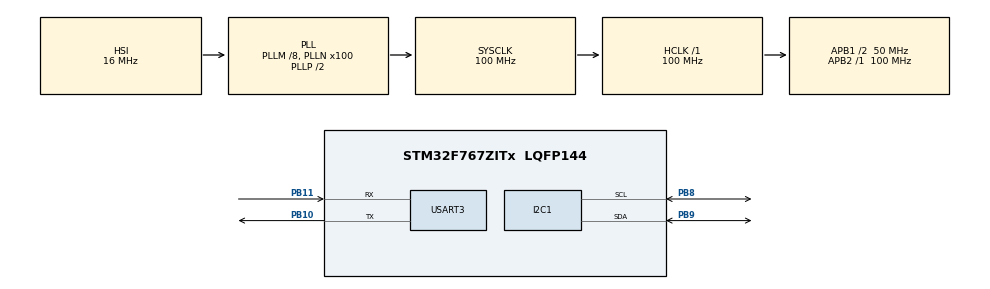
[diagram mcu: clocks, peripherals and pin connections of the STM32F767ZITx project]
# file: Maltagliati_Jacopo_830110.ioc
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FREERTOS.Tasks01=Task_T_Reserved,55,128,T_Reserved,Default,NULL,Dynamic,NULL,NULL;Task_M_CalcAll,32,128,M_CalcAll,Default,NULL,Dynamic,NULL,NULL;Task_LCD_Disply,48,128,LCD_Display,Default,NULL,Dynamic,NULL,NULL;Task_LCD_Button,49,128,LCD_Button_Readall,Default,NULL,Dynamic,NULL,NULL;Task_XL_GetData,25,128,XL_GetData,Default,NULL,Dynamic,NULL,NULL;Task_MG_GetData,26,128,MG_GetData,Default,NULL,Dynamic,NULL,NULL;Task_B_GetData,27,128,B_GetData,Default,NULL,Dynamic,NULL,NULL;Task_XL2_GetDat,28,128,XL2_GetData,Default,NULL,Dynamic,NULL,NULL;Task_G_GetData,29,128,G_GetData,Default,NULL,Dynamic,NULL,NULL
I2C1.Timing=0x00C0EAFF
Mcu.Family=STM32F7
Mcu.Name=STM32F767ZITx
Mcu.Package=LQFP144
NVIC.I2C1_ER_IRQn=true\:0\:0\:false\:false\:true\:true\:true\:true
NVIC.I2C1_EV_IRQn=true\:0\:0\:false\:false\:true\:true\:true\:true
NVIC.PriorityGroup=NVIC_PRIORITYGROUP_4
NVIC.TIM1_UP_TIM10_IRQn=true\:0\:0\:false\:false\:true\:false\:false\:true
NVIC.TimeBase=TIM1_UP_TIM10_IRQn
NVIC.TimeBaseIP=TIM1
PB10.Mode=Asynchronous
PB10.Signal=USART3_TX
PB11.Mode=Asynchronous
PB11.Signal=USART3_RX
PB8.Mode=I2C
PB8.Signal=I2C1_SCL
PB9.Mode=I2C
PB9.Signal=I2C1_SDA
ProjectManager.HeapSize=0x200
ProjectManager.StackSize=0x400
ProjectManager.TargetToolchain=STM32CubeIDE
RCC.AHBFreq_Value=100000000
RCC.APB1CLKDivider=RCC_HCLK_DIV2
RCC.APB1Freq_Value=50000000
RCC.APB1TimFreq_Value=100000000
RCC.APB2Freq_Value=100000000
RCC.APB2TimFreq_Value=100000000
RCC.CortexFreq_Value=100000000
RCC.HCLKFreq_Value=100000000
RCC.HSE_VALUE=25000000
RCC.HSI_VALUE=16000000
RCC.LSE_VALUE=32768
RCC.PLLM=8
RCC.PLLN=100
RCC.SYSCLKFreq_VALUE=100000000
RCC.SYSCLKSource=RCC_SYSCLKSOURCE_PLLCLK
RCC.USBFreq_Value=100000000
RCC.VCOOutputFreq_Value=200000000
USART3.VirtualMode-Asynchronous=VM_ASYNC
VP_FREERTOS_VS_CMSIS_V2.Mode=CMSIS_V2
VP_SYS_VS_tim1.Mode=TIM1
board=custom

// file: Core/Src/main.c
/* USER CODE BEGIN Header */
/**
 ******************************************************************************
 * @file           : main.c
 * @brief          : Main program body
 ******************************************************************************
 * @attention
 *
 * <h2><center>&copy; Copyright (c) 2020 STMicroelectronics.
 * All rights reserved.</center></h2>
 *
 * This software component is licensed by ST under BSD 3-Clause license,
 * the "License"; You may not use this file except in compliance with the
 * License. You may obtain a copy of the License at:
 *                        opensource.org/licenses/BSD-3-Clause
 *
 ******************************************************************************
 */
/* USER CODE END Header */
#include "main.h"
#include "cmsis_os.h"
#include "i2c.h"
#include "usart.h"
#include "gpio.h"

/* USER CODE BEGIN Includes */

#include "u_lcd_helper.h"
#include "u_lsm303agr_driver.h"
#include "u_lsm6dsl_driver.h"
#include "u_lps22hb_driver.h"

/* USER CODE END Includes */

/* USER CODE BEGIN PD */
#define NUCLEO_F767ZI

/* USER CODE END PD */

void SystemClock_Config(void);
void MX_FREERTOS_Init(void);

int main(void)
{

  /* MCU Configuration--------------------------------------------------------*/

  /* Reset of all peripherals, Initializes the Flash interface and the Systick. */
  HAL_Init();

  /* Configure the system clock */
  SystemClock_Config();

  /* Initialize all configured peripherals */
  MX_GPIO_Init();
  MX_I2C1_Init();
  MX_USART3_UART_Init();
  /* USER CODE BEGIN 2 */
	lcdInit(&hi2c1);

	H_LCD_Button_InitFSM();

	D_LSM303AGR_Init();
	D_LSM6DSL_Init();
	D_LPS22HB_Init();
  /* USER CODE END 2 */

  /* Init scheduler */
  osKernelInitialize();  /* Call init function for freertos objects (in freertos.c) */
  MX_FREERTOS_Init();
  /* Start scheduler */
  osKernelStart();

  /* We should never get here as control is now taken by the scheduler */
  /* Infinite loop */
	while (1) {

	}
}

void SystemClock_Config(void)
{
  RCC_OscInitTypeDef RCC_OscInitStruct = {0};
  RCC_ClkInitTypeDef RCC_ClkInitStruct = {0};
  RCC_PeriphCLKInitTypeDef PeriphClkInitStruct = {0};

  /** Configure the main internal regulator output voltage
  */
  __HAL_RCC_PWR_CLK_ENABLE();
  __HAL_PWR_VOLTAGESCALING_CONFIG(PWR_REGULATOR_VOLTAGE_SCALE3);
  /** Initializes the RCC Oscillators according to the specified parameters
  * in the RCC_OscInitTypeDef structure.
  */
  RCC_OscInitStruct.OscillatorType = RCC_OSCILLATORTYPE_HSI;
  RCC_OscInitStruct.HSIState = RCC_HSI_ON;
  RCC_OscInitStruct.HSICalibrationValue = RCC_HSICALIBRATION_DEFAULT;
  RCC_OscInitStruct.PLL.PLLState = RCC_PLL_ON;
  RCC_OscInitStruct.PLL.PLLSource = RCC_PLLSOURCE_HSI;
  RCC_OscInitStruct.PLL.PLLM = 8;
  RCC_OscInitStruct.PLL.PLLN = 100;
  RCC_OscInitStruct.PLL.PLLP = RCC_PLLP_DIV2;
  RCC_OscInitStruct.PLL.PLLQ = 2;
  if (HAL_RCC_OscConfig(&RCC_OscInitStruct) != HAL_OK)
  {
    Error_Handler();
  }
  /** Activate the Over-Drive mode
  */
  if (HAL_PWREx_EnableOverDrive() != HAL_OK)
  {
    Error_Handler();
  }
  /** Initializes the CPU, AHB and APB buses clocks
  */
  RCC_ClkInitStruct.ClockType = RCC_CLOCKTYPE_HCLK|RCC_CLOCKTYPE_SYSCLK
                              |RCC_CLOCKTYPE_PCLK1|RCC_CLOCKTYPE_PCLK2;
  RCC_ClkInitStruct.SYSCLKSource = RCC_SYSCLKSOURCE_PLLCLK;
  RCC_ClkInitStruct.AHBCLKDivider = RCC_SYSCLK_DIV1;
  RCC_ClkInitStruct.APB1CLKDivider = RCC_HCLK_DIV2;
  RCC_ClkInitStruct.APB2CLKDivider = RCC_HCLK_DIV1;

  if (HAL_RCC_ClockConfig(&RCC_ClkInitStruct, FLASH_LATENCY_3) != HAL_OK)
  {
    Error_Handler();
  }
  PeriphClkInitStruct.PeriphClockSelection = RCC_PERIPHCLK_USART3|RCC_PERIPHCLK_I2C1;
  PeriphClkInitStruct.Usart3ClockSelection = RCC_USART3CLKSOURCE_PCLK1;
  PeriphClkInitStruct.I2c1ClockSelection = RCC_I2C1CLKSOURCE_PCLK1;
  if (HAL_RCCEx_PeriphCLKConfig(&PeriphClkInitStruct) != HAL_OK)
  {
    Error_Handler();
  }
}

void HAL_TIM_PeriodElapsedCallback(TIM_HandleTypeDef *htim)
{
  if (htim->Instance == TIM1) {
    HAL_IncTick();
  }
}

void Error_Handler(void)
{
}

/************************ (C) COPYRIGHT STMicroelectronics *****END OF FILE****/

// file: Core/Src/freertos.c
/* USER CODE BEGIN Header */
/**
 ******************************************************************************
 * File Name          : freertos.c
 * Description        : Code for freertos applications
 ******************************************************************************
 * @attention
 *
 * <h2><center>&copy; Copyright (c) 2020 STMicroelectronics.
 * All rights reserved.</center></h2>
 *
 * This software component is licensed by ST under Ultimate Liberty license
 * SLA0044, the "License"; You may not use this file except in compliance with
 * the License. You may obtain a copy of the License at:
 *                             www.st.com/SLA0044
 *
 ******************************************************************************
 */
/* USER CODE END Header */

#include "FreeRTOS.h"
#include "task.h"
#include "main.h"
#include "cmsis_os.h"

/* USER CODE BEGIN Includes */

#include <string.h>
#include "u_root.h"
#include "u_types.h"
#include "u_timings.h"
#include "u_lcd_helper.h"
#include "u_lsm303agr_driver.h"
#include "u_lsm6dsl_driver.h"
#include "u_lps22hb_driver.h"

/* USER CODE END Includes */

/* Definitions for Task_T_Reserved */
osThreadId_t Task_T_ReservedHandle;
const osThreadAttr_t Task_T_Reserved_attributes = {
  .name = "Task_T_Reserved",
  .priority = (osPriority_t) osPriorityRealtime7,
  .stack_size = 128 * 4
};
/* Definitions for Task_M_CalcAll */
osThreadId_t Task_M_CalcAllHandle;
const osThreadAttr_t Task_M_CalcAll_attributes = {
  .name = "Task_M_CalcAll",
  .priority = (osPriority_t) osPriorityAboveNormal,
  .stack_size = 128 * 4
};
/* Definitions for Task_LCD_Disply */
osThreadId_t Task_LCD_DisplyHandle;
const osThreadAttr_t Task_LCD_Disply_attributes = {
  .name = "Task_LCD_Disply",
  .priority = (osPriority_t) osPriorityRealtime,
  .stack_size = 128 * 4
};
/* Definitions for Task_LCD_Button */
osThreadId_t Task_LCD_ButtonHandle;
const osThreadAttr_t Task_LCD_Button_attributes = {
  .name = "Task_LCD_Button",
  .priority = (osPriority_t) osPriorityRealtime1,
  .stack_size = 128 * 4
};
/* Definitions for Task_XL_GetData */
osThreadId_t Task_XL_GetDataHandle;
const osThreadAttr_t Task_XL_GetData_attributes = {
  .name = "Task_XL_GetData",
  .priority = (osPriority_t) osPriorityNormal1,
  .stack_size = 128 * 4
};
/* Definitions for Task_MG_GetData */
osThreadId_t Task_MG_GetDataHandle;
const osThreadAttr_t Task_MG_GetData_attributes = {
  .name = "Task_MG_GetData",
  .priority = (osPriority_t) osPriorityNormal2,
  .stack_size = 128 * 4
};
/* Definitions for Task_B_GetData */
osThreadId_t Task_B_GetDataHandle;
const osThreadAttr_t Task_B_GetData_attributes = {
  .name = "Task_B_GetData",
  .priority = (osPriority_t) osPriorityNormal3,
  .stack_size = 128 * 4
};
/* Definitions for Task_XL2_GetDat */
osThreadId_t Task_XL2_GetDatHandle;
const osThreadAttr_t Task_XL2_GetDat_attributes = {
  .name = "Task_XL2_GetDat",
  .priority = (osPriority_t) osPriorityNormal4,
  .stack_size = 128 * 4
};
/* Definitions for Task_G_GetData */
osThreadId_t Task_G_GetDataHandle;
const osThreadAttr_t Task_G_GetData_attributes = {
  .name = "Task_G_GetData",
  .priority = (osPriority_t) osPriorityNormal5,
  .stack_size = 128 * 4
};

void T_Reserved(void *argument);
void M_CalcAll(void *argument);
void LCD_Display(void *argument);
void LCD_Button_Readall(void *argument);
void XL_GetData(void *argument);
void MG_GetData(void *argument);
void B_GetData(void *argument);
void XL2_GetData(void *argument);
void G_GetData(void *argument);

void MX_FREERTOS_Init(void); /* (MISRA C 2004 rule 8.1) */

void MX_FREERTOS_Init(void) {

  /* Create the thread(s) */
  /* creation of Task_T_Reserved */
  Task_T_ReservedHandle = osThreadNew(T_Reserved, NULL, &Task_T_Reserved_attributes);

  /* creation of Task_M_CalcAll */
  Task_M_CalcAllHandle = osThreadNew(M_CalcAll, NULL, &Task_M_CalcAll_attributes);

  /* creation of Task_LCD_Disply */
  Task_LCD_DisplyHandle = osThreadNew(LCD_Display, NULL, &Task_LCD_Disply_attributes);

  /* creation of Task_LCD_Button */
  Task_LCD_ButtonHandle = osThreadNew(LCD_Button_Readall, NULL, &Task_LCD_Button_attributes);

  /* creation of Task_XL_GetData */
  Task_XL_GetDataHandle = osThreadNew(XL_GetData, NULL, &Task_XL_GetData_attributes);

  /* creation of Task_MG_GetData */
  Task_MG_GetDataHandle = osThreadNew(MG_GetData, NULL, &Task_MG_GetData_attributes);

  /* creation of Task_B_GetData */
  Task_B_GetDataHandle = osThreadNew(B_GetData, NULL, &Task_B_GetData_attributes);

  /* creation of Task_XL2_GetDat */
  Task_XL2_GetDatHandle = osThreadNew(XL2_GetData, NULL, &Task_XL2_GetDat_attributes);

  /* creation of Task_G_GetData */
  Task_G_GetDataHandle = osThreadNew(G_GetData, NULL, &Task_G_GetData_attributes);

}

void T_Reserved(void *argument)
{
  /* USER CODE BEGIN T_Reserved */
	// Task riservato (default, inizializzazione)
	HAL_Delay(500);
	sprintf((char*) lcd_tx_buffer, " FreeRTOS * GO! ");
	H_LCD_Perform_Tx(H_LCD_ROW_TOP);
	HAL_Delay(1000);
	vTaskDelete(NULL);
  /* USER CODE END T_Reserved */
}

void M_CalcAll(void *argument)
{
  /* USER CODE BEGIN M_CalcAll */
	/* Infinite loop */
	for (;;) {
		// Acc1
		L_UpdateMean(lsm303agr_acc_x_list);
		L_UpdateMean(lsm303agr_acc_y_list);
		L_UpdateMean(lsm303agr_acc_z_list);
		// Acc2
		L_UpdateMean(lsm6dsl_lin_x_list);
		L_UpdateMean(lsm6dsl_lin_y_list);
		L_UpdateMean(lsm6dsl_lin_z_list);
		// Gyr
		L_UpdateMean(lsm6dsl_ang_x_list);
		L_UpdateMean(lsm6dsl_ang_y_list);
		L_UpdateMean(lsm6dsl_ang_z_list);
		// Mag
		L_UpdateMean(lsm303agr_mag_x_list);
		L_UpdateMean(lsm303agr_mag_y_list);
		L_UpdateMean(lsm303agr_mag_z_list);
		// Prs
		L_UpdateMean(lps22hb_hPa_list);
		osDelay(M_CALCALL_TASK_PERIOD);
	}
  /* USER CODE END M_CalcAll */
}

void LCD_Display(void *argument)
{
  /* USER CODE BEGIN LCD_Display */
	static int mean_round, mean_err;
	/* Infinite loop */
	for (;;) {
		// Se il backbuffer è stato aggiornato, ho cambiato stato
		if (fsm_state_buffer[0] != fsm_state_buffer[1]) {
			fsm_state_buffer[0] = fsm_state_buffer[1]; // Aggiorno il frontbuffer
			lcdClear(); // Pulisco l'LCD (per convenienza)
		}
		// Stampa in base agli stati
		if (fsm_state_buffer[0] == &pAc1A) {
			// Stato: Accelerometro 1 Pagina A
			H_LCD_Round_Error(lsm303agr_acc_x_list->mean, &mean_round, &mean_err);
			H_LCD_Print("Ac1x", mean_round, mean_err, H_LCD_ROW_TOP);
			H_LCD_Round_Error(lsm303agr_acc_y_list->mean, &mean_round, &mean_err);
			H_LCD_Print("Ac1y", mean_round, mean_err, H_LCD_ROW_BTM);
		} else if (fsm_state_buffer[0] == &pAc1B) {
			// Stato: Accelerometro 1 Pagina B
			H_LCD_Round_Error(lsm303agr_acc_z_list->mean, &mean_round, &mean_err);
			H_LCD_Print("Ac1z", mean_round, mean_err, H_LCD_ROW_TOP);
			H_LCD_Blank(H_LCD_ROW_BTM);
		} else if (fsm_state_buffer[0] == &pAc2A) {
			// Stato: Accelerometro 2 Pagina A
			H_LCD_Round_Error(lsm6dsl_lin_x_list->mean, &mean_round, &mean_err);
			H_LCD_Print("Ac2x", mean_round, mean_err, H_LCD_ROW_TOP);
			H_LCD_Round_Error(lsm6dsl_lin_y_list->mean, &mean_round, &mean_err);
			H_LCD_Print("Ac2y", mean_round, mean_err, H_LCD_ROW_BTM);
		} else if (fsm_state_buffer[0] == &pAc2B) {
			// Stato: Accelerometro 2 Pagina B
			H_LCD_Round_Error(lsm6dsl_lin_z_list->mean, &mean_round, &mean_err);
			H_LCD_Print("Ac2z", mean_round, mean_err, H_LCD_ROW_TOP);
			H_LCD_Blank(H_LCD_ROW_BTM);
		} else if (fsm_state_buffer[0] == &pGyrA) {
			// Stato: Giroscopio Pagina A
			H_LCD_Round_Error(lsm6dsl_ang_x_list->mean, &mean_round, &mean_err);
			H_LCD_Print("Gyrx", mean_round, mean_err, H_LCD_ROW_TOP);
			H_LCD_Round_Error(lsm6dsl_ang_y_list->mean, &mean_round, &mean_err);
			H_LCD_Print("Gyry", mean_round, mean_err, H_LCD_ROW_BTM);
		} else if (fsm_state_buffer[0] == &pGyrB) {
			// Stato: Giroscopio Pagina B
			H_LCD_Round_Error(lsm6dsl_ang_z_list->mean, &mean_round, &mean_err);
			H_LCD_Print("Gyrz", mean_round, mean_err, H_LCD_ROW_TOP);
			H_LCD_Blank(H_LCD_ROW_BTM);
		} else if (fsm_state_buffer[0] == &pMagA) {
			// Stato: Magnetometro Pagina 1
			H_LCD_Round_Error(lsm303agr_mag_x_list->mean, &mean_round, &mean_err);
			H_LCD_Print("Magx", mean_round, mean_err, H_LCD_ROW_TOP);
			H_LCD_Round_Error(lsm303agr_mag_y_list->mean, &mean_round, &mean_err);
			H_LCD_Print("Magy", mean_round, mean_err, H_LCD_ROW_BTM);
		} else if (fsm_state_buffer[0] == &pMagB) {
			// Stato: Magnetometro Pagina 2
			H_LCD_Round_Error(lsm303agr_acc_z_list->mean, &mean_round, &mean_err);
			H_LCD_Print("Magz", mean_round, mean_err, H_LCD_ROW_TOP);
			H_LCD_Blank(H_LCD_ROW_BTM);
		} else if (fsm_state_buffer[0] == &pPrs) {
			// Stato: Barometro
			H_LCD_Round_Error(lps22hb_hPa_list->mean, &mean_round, &mean_err);
			mean_err = mean_err/10; // QAD hack - perché %.1d non funziona?
			sprintf((char*) lcd_tx_buffer, " %s:%.5d.%.1d ", "Bar ", mean_round, mean_err);
			H_LCD_Perform_Tx(H_LCD_ROW_TOP);
			H_LCD_Blank(H_LCD_ROW_BTM);
		}
		osDelay(LCD_DISPLAY_TASK_PERIOD);
	}
  /* USER CODE END LCD_Display */
}

void LCD_Button_Readall(void *argument)
{
  /* USER CODE BEGIN LCD_Button_Readall */
	/* Infinite loop */
	for (;;) {
		HAL_Delay(50); // Assolutamente necessario (conflitto r/w del bus I2C?)
		H_LCD_Button_StepFSM(lcdReadButtons());
		osDelay(LCD_BUTTON_READALL_TASK_PERIOD);
	}
  /* USER CODE END LCD_Button_Readall */
}

void XL_GetData(void *argument)
{
  /* USER CODE BEGIN XL_GetData */
	/* Infinite loop */
	for (;;) {
		D_LSM303AGR_XL_Read();
		L_Insert(lsm303agr_acc_x_list, lsm303agr_xl_data.x);
		L_Insert(lsm303agr_acc_y_list, lsm303agr_xl_data.y);
		L_Insert(lsm303agr_acc_z_list, lsm303agr_xl_data.z);
		osDelay(XL_GETDATA_TASK_PERIOD);
	}
  /* USER CODE END XL_GetData */
}

void MG_GetData(void *argument)
{
  /* USER CODE BEGIN MG_GetData */
	/* Infinite loop */
	for (;;) {
		D_LSM303AGR_MG_Read();
		L_Insert(lsm303agr_mag_x_list, lsm303agr_mg_data.x);
		L_Insert(lsm303agr_mag_y_list, lsm303agr_mg_data.y);
		L_Insert(lsm303agr_mag_z_list, lsm303agr_mg_data.z);
		osDelay(MG_GETDATA_TASK_PERIOD);
	}
  /* USER CODE END MG_GetData */
}

void B_GetData(void *argument)
{
  /* USER CODE BEGIN B_GetData */
	/* Infinite loop */
	for (;;) {
		D_LPS22HB_Read();
		L_Insert(lps22hb_hPa_list, lps22hb_data.hPa);
		osDelay(P_GETDATA_TASK_PERIOD);
	}
  /* USER CODE END B_GetData */
}

void XL2_GetData(void *argument)
{
  /* USER CODE BEGIN XL2_GetData */
	/* Infinite loop */
	for (;;) {
		D_LSM6DSL_XL_Read();
		L_Insert(lsm6dsl_lin_x_list, lsm6dsl_xl_data.x);
		L_Insert(lsm6dsl_lin_y_list, lsm6dsl_xl_data.y);
		L_Insert(lsm6dsl_lin_z_list, lsm6dsl_xl_data.z);
		osDelay(XL2_GETDATA_TASK_PERIOD);
	}
  /* USER CODE END XL2_GetData */
}

void G_GetData(void *argument)
{
  /* USER CODE BEGIN G_GetData */
	/* Infinite loop */
	for (;;) {
		D_LSM6DSL_G_Read();
		L_Insert(lsm6dsl_ang_x_list, lsm6dsl_g_data.x);
		L_Insert(lsm6dsl_ang_y_list, lsm6dsl_g_data.y);
		L_Insert(lsm6dsl_ang_z_list, lsm6dsl_g_data.z);
		osDelay(G_GETDATA_TASK_PERIOD);
	}
  /* USER CODE END G_GetData */
}

/************************ (C) COPYRIGHT STMicroelectronics *****END OF FILE****/
